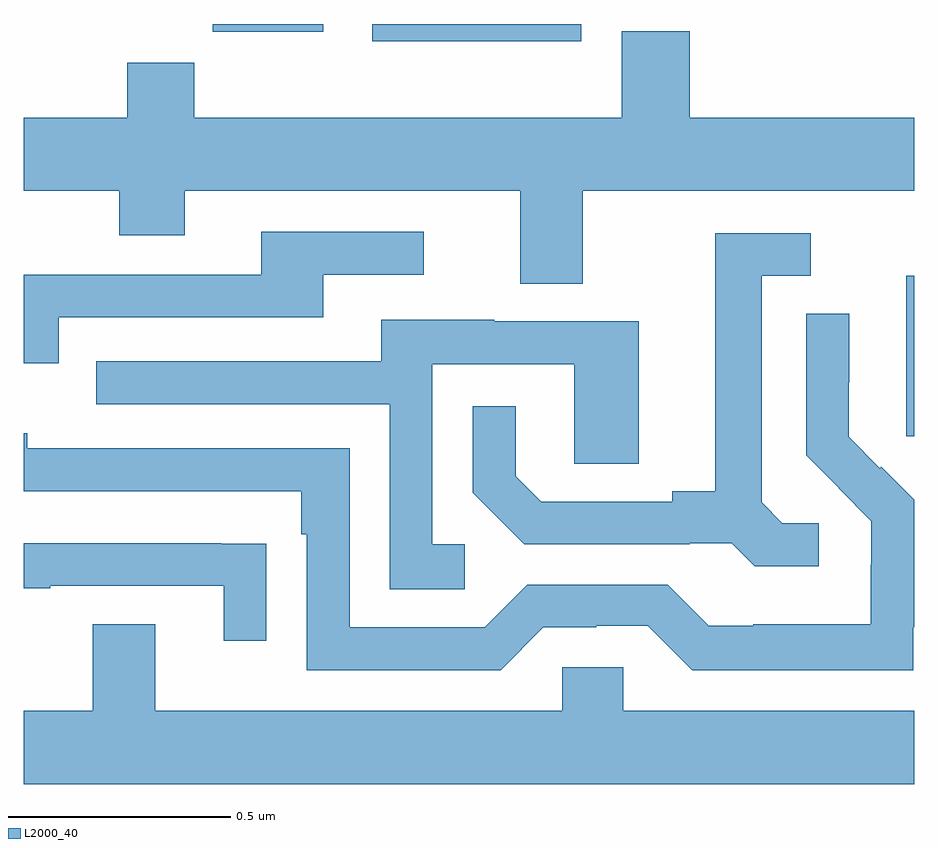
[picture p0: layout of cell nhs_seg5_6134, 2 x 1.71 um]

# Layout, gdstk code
import gdstk
lib = gdstk.Library(unit=1e-6, precision=1e-09)
def R(c, l, rs):  # rectangles x0, y0, x1, y1
    for r in rs: c.add(gdstk.rectangle(r[:2], r[2:], *l))
def P(c, l, *ps):  # polygons
    for p in ps: c.add(gdstk.Polygon(p, *l))
L2000_40 = (2000, 40)

nhs_seg5_6134 = lib.new_cell('nhs_seg5_6134')
R(nhs_seg5_6134, L2000_40, [(193.982,858.873,194,859.234), (192.783,859.76,193.252,859.799), (192.424,859.782,192.673,859.799)])
P(nhs_seg5_6134, L2000_40, [(193.255,859.424),(194,859.424),(194,859.588),(193.496,859.588),(193.496,859.783),(193.343,859.783),(193.343,859.588),(192.383,859.588),(192.383,859.712),(192.232,859.712),(192.232,859.588),(192,859.588),(192,859.424),(192.214,859.424),(192.214,859.325),(192.361,859.325),(192.361,859.424),(193.115,859.424),(193.115,859.216),(193.255,859.216)],
  [(192.078,859.14),(192.673,859.14),(192.673,859.236),(192.898,859.236),(192.898,859.332),(192.533,859.332),(192.533,859.236),(192,859.236),(192,859.037),(192.078,859.037)],
  [(193.786,858.678),(193.704,858.678),(193.657,858.725),(193.657,859.233),(193.768,859.233),(193.768,859.329),(193.553,859.329),(193.553,858.749),(193.457,858.749),(193.457,858.726),(193.162,858.726),(193.105,858.783),(193.105,858.94),(193.008,858.94),(193.008,858.746),(193.124,858.63),(193.496,858.63),(193.496,858.633),(193.59,858.633),(193.642,858.581),(193.786,858.581)],
  [(193.998,858.444),(194,858.444),(194,858.73),(193.926,858.804),(193.923,858.801),(193.853,858.872),(193.853,858.994),(193.854,858.994),(193.854,859.148),(193.758,859.148),(193.758,858.83),(193.831,858.757),(193.83,858.756),(193.904,858.682),(193.904,858.585),(193.902,858.585),(193.902,858.451),(193.639,858.451),(193.639,858.447),(193.539,858.447),(193.446,858.54),(193.131,858.54),(193.035,858.444),(192.732,858.444),(192.732,858.846),(192.008,858.846),(192.008,858.88),(192,858.88),(192,858.75),(192.623,858.75),(192.623,858.653),(192.636,858.653),(192.636,858.348),(193.071,858.348),(193.167,858.444),(193.286,858.444),(193.286,858.447),(193.401,858.447),(193.501,858.347),(193.998,858.347)],
  [(192.991,858.63),(192.918,858.63),(192.918,859.035),(193.236,859.035),(193.236,858.811),(193.381,858.811),(193.381,859.131),(193.057,859.131),(193.057,859.135),(192.803,859.135),(192.803,859.041),(192.163,859.041),(192.163,858.945),(192.822,858.945),(192.822,858.529),(192.991,858.529)],
  [(192.545,858.632),(192.443,858.632),(192.443,858.633),(192,858.633),(192,858.532),(192.059,858.532),(192.059,858.537),(192.449,858.537),(192.449,858.414),(192.545,858.414)],
  [(194,858.256),(193.347,858.256),(193.347,858.354),(193.209,858.354),(193.209,858.256),(192.295,858.256),(192.295,858.451),(192.155,858.451),(192.155,858.256),(192,858.256),(192,858.092),(194,858.092)])

lib.write_gds('nhs_seg5_6134.gds')
